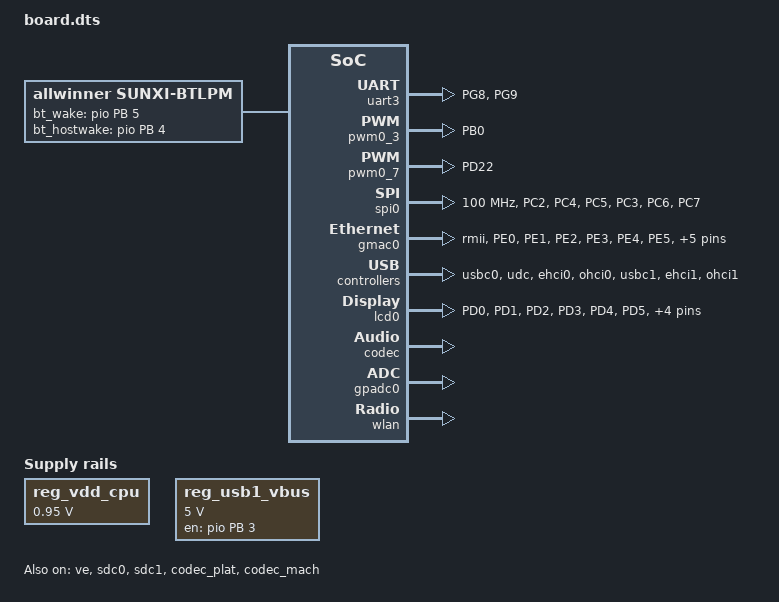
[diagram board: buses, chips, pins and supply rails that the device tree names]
/*
 * Allwinner Technology CO., Ltd.
 */

/dts-v1/;

#include "sun8iw20p1.dtsi"

/{
	reg_vdd_cpu: vdd-cpu {
		compatible = "regulator-fixed";
		regulator-name = "vdd_cpu";
		regulator-min-microvolt = <950000>;
		regulator-max-microvolt = <950000>;
		regulator-always-on;
		regulator-boot-on;
		status = "okay";
	};

	reg_usb1_vbus: usb1-vbus {
		compatible = "regulator-fixed";
		regulator-name = "usb1-vbus";
		regulator-min-microvolt = <5000000>;
		regulator-max-microvolt = <5000000>;
		regulator-enable-ramp-delay = <1000>;
		gpio = <&pio PB 3 GPIO_ACTIVE_HIGH>;
		enable-active-high;
	};
};

&cpu_opp_table {
	opp@480000000 {
		opp-hz = /bits/ 64 <480000000>;
		clock-latency-ns = <244144>;
		opp-microvolt-a0 = <950000>;
		opp-microvolt-a1 = <950000>;
		opp-microvolt-a2 = <950000>;

		opp-microvolt-b0 = <950000>;
		opp-supported-hw = <0x3>;
	};

	opp@720000000 {
		opp-hz = /bits/ 64 <720000000>;
		clock-latency-ns = <244144>;
		opp-microvolt-a0 = <950000>;
		opp-microvolt-a1 = <950000>;
		opp-microvolt-a2 = <950000>;

		opp-microvolt-b0 = <950000>;
		opp-supported-hw = <0x3>;
	};

	opp@912000000 {
		opp-hz = /bits/ 64 <912000000>;
		clock-latency-ns = <244144>;
		opp-microvolt-a0 = <950000>;
		opp-microvolt-a1 = <950000>;
		opp-microvolt-a2 = <950000>;

		opp-microvolt-b0 = <950000>;
		opp-supported-hw = <0x3>;
	};

	opp@1008000000 {
		opp-hz = /bits/ 64 <1008000000>;
		clock-latency-ns = <244144>;
		opp-microvolt-a0 = <1000000>;
		opp-microvolt-a1 = <950000>;
		opp-microvolt-a2 = <950000>;

		opp-microvolt-b0 = <950000>;
		opp-supported-hw = <0x3>;
	};

	/*opp@1104000000 use dtsi default*/

	opp@1200000000 {
		opp-supported-hw = <0x0>;
	};
};

&cpu0 {
	cpu-supply = <&reg_vdd_cpu>;
};

&pio {
	uart0_pins_a: uart0_pins@0 {  /* For EVB1 board */
		pins = "PG08", "PG09";
		function = "uart0";
	};

	uart0_pins_b: uart0_pins@1 {  /* For EVB1 board */
		pins = "PG08", "PG09";
		function = "gpio_in";
	};

	uart1_pins_a: uart1_pins@0 {  /* For EVB1 board */
		pins = "PG6", "PG7", "PG8", "PG9";
		function = "uart1";
		drive-strength = <10>;
		bias-pull-up;
	};

	uart1_pins_b: uart1_pins@1 {  /* For EVB1 board */
		pins = "PG6", "PG7", "PG8", "PG9";
		function = "gpio_in";
	};

	uart2_pins_a: uart2_pins@0 {  /* For EVB1 board */
		pins = "PE2", "PE3";
		function = "uart2";
		drive-strength = <10>;
		bias-pull-up;
	};

	uart2_pins_b: uart2_pins@1 {  /* For EVB1 board */
		pins = "PE2", "PE3";
		function = "gpio_in";
	};

	uart3_pins_a: uart3_pins@0 {  /* For t113_evb */
		pins = "PG8", "PG9";
		function = "uart3";
		drive-strength = <10>;
		bias-pull-up;
	};

	uart3_pins_b: uart3_pins@1 {  /* For t113_evb */
		pins = "PG8", "PG9";
		function = "gpio_in";
	};

	uart4_pins_a: uart4_pins@0 {  /* For t113_evb */
		pins = "PB2", "PB3";
		function = "uart4";
		drive-strength = <10>;
		bias-pull-up;
	};

	uart4_pins_b: uart4_pins@1 {  /* For t113_evb */
		pins = "PB2", "PB3";
		function = "gpio_in";
	};

	uart5_pins_a: uart5_pins@0 {  /* For t113_evb */
		pins = "PE6", "PE7";
		function = "uart5";
		drive-strength = <10>;
		bias-pull-up;
	};

	uart5_pins_b: uart5_pins@1 {  /* For t113_evb */
		pins = "PE6", "PE7";
		function = "gpio_in";
	};

	twi0_pins_default: twi0@0 {
		pins = "PB10", "PB11";
		function = "twi0";
		drive-strength = <10>;
		bias-pull-up;
	};

	twi0_pins_sleep: twi0@1 {
		pins = "PB10", "PB11";
		function = "gpio_in";
	};

	twi1_pins_default: twi1@0 {
		pins = "PE0", "PE1";
		function = "twi1";
		drive-strength = <10>;
		bias-pull-up;
	};

	twi1_pins_sleep: twi1@1 {
		pins = "PE0", "PE1";
		function = "gpio_in";
	};

	twi2_pins_default: twi2@0 {
		pins = "PE12", "PE13";
		function = "twi2";
		drive-strength = <10>;
		bias-pull-up;
	};

	twi2_pins_sleep: twi2@1 {
		pins = "PE12", "PE13";
		function = "gpio_in";
	};

	twi3_pins_default: twi3@0 {
		pins = "PG10", "PG11";
		function = "twi3";
		drive-strength = <10>;
		bias-pull-up;
	};

	twi3_pins_sleep: twi3@1 {
		pins = "PG10", "PG11";
		function = "gpio_in";
	};

	pwm3_pin_active: pwm3@0 {
		pins = "PB0";
		function = "pwm3";
		drive-strength = <10>;
		bias-pull-up;
	};

	pwm3_pin_sleep: pwm3@1 {
		pins = "PB0";
		function = "gpio_in";
		bias-pull-down;
	};

	pwm7_pin_active: pwm7@0 {
		pins = "PD22";
		function = "pwm7";
		drive-strength = <10>;
		bias-pull-up;
	};

	pwm7_pin_sleep: pwm7@1 {
		pins = "PD22";
		function = "gpio_in";
		bias-pull-down;
	};

	spi0_pins_a: spi0@0 {
		allwinner,pins = "PC2", "PC4", "PC5";
		function = "spi0";
		drive-strength = <20>;
	};

	spi0_pins_b: spi0@1 {
		pins = "PC3", "PC6", "PC7";
		function = "spi0";
		drive-strength = <20>;
		bias-pull-up;	/* only CS should be pulled up  */
	};

	spi0_pins_c: spi0@2 {
		pins = "PC2", "PC3", "PC4",
				"PC5", "PC6", "PC7";
		function = "gpio_in";
		drive-strength = <20>;
	};

	spi1_pins_a: spi1@0 {
		pins = "PB11", "PB10", "PB9","PB8", "PD15"; /*clk mosi miso hold wp*/
		function = "spi1";
		drive-strength = <10>;
	};

	spi1_pins_b: spi1@1 {
		pins = "PB12";
		function = "spi1";
		drive-strength = <10>;
		bias-pull-up;	/*only CS should be pulled up*/
	};

	spi1_pins_c: spi1@2 {
		pins = "PD15", "PB8", "PB9", "PB10","PB11", "PB12";
		function = "io_disabled";
		drive-strength = <10>;
	};

	gmac0_pins_default: gmac0@0 {
		allwinner,pins = "PE0", "PE1", "PE2", "PE3",
			"PE4", "PE5", "PE6", "PE7",
			"PE8", "PE9", "PE10";
		allwinner,function = "gmac0";
		allwinner,muxsel = <8>;
		allwinner,drive = <3>;
		allwinner,pull = <1>;
	};

	gmac0_pins_sleep: gmac0@1 {
		allwinner,pins = "PE0", "PE1", "PE2", "PE3",
			"PE4", "PE5", "PE6", "PE7",
			"PE8", "PE9", "PE10";
		allwinner,function = "gpio_in";
		allwinner,muxsel = <0>;
		allwinner,drive = <3>;
		allwinner,pull = <1>;
	};

	lvds0_pins_a: lvds0@0 {
		allwinner,pins  = "PD0", "PD1", "PD2", "PD3", "PD4", "PD5", "PD6", "PD7", "PD8", "PD9";
		allwinner,pname = "PD0", "PD1", "PD2", "PD3", "PD4", "PD5", "PD6", "PD7", "PD8", "PD9";
		allwinner,function = "lvds0";
		allwinner,muxsel = <3>;
		allwinner,drive = <3>;
		allwinner,pull = <0>;
	};

	lvds0_pins_b: lvds0@1 {
		allwinner,pins  = "PD0", "PD1", "PD2", "PD3", "PD4", "PD5", "PD6", "PD7", "PD8", "PD9";
		allwinner,pname = "PD0", "PD1", "PD2", "PD3", "PD4", "PD5", "PD6", "PD7", "PD8", "PD9";
		allwinner,function = "io_disabled";
		allwinner,muxsel = <7>;
		allwinner,drive = <3>;
		allwinner,pull = <0>;
	};

	rgb24_pins_a: rgb24@0 {
		allwinner,pins = "PB2", "PB3", "PD0", "PD1", "PD2", "PD3", "PD4", "PD5", \
			"PB4", "PB5", "PD6", "PD7", "PD8", "PD9", "PD10", "PD11", \
			"PB6", "PB7", "PD12", "PD13", "PD14", "PD15", "PD16", "PD17", \
			"PD18", "PD19", "PD20", "PD21";
		allwinner,pname = "lcdd0", "lcdd1", "lcdd2", "lcdd3", "lcdd4", "lcdd5", "lcdd6", "lcdd7", \
			"lcdd8", "lcdd9", "lcdd10", "lcdd11", "lcdd12", "lcdd13", "lcdd14", "lcdd15", \
			"lcdd16", "lcdd17", "lcdd18", "lcdd19", "lcdd20", "lcdd21", "lcdd22", "lcdd23", \
			"lcdclk", "lcdde", "lcdhsync", "lcdvsync";
		allwinner,function = "lcd0";
		allwinner,muxsel = <2>;
		allwinner,drive = <3>;
		allwinner,pull = <0>;
	};

	rgb24_pins_b: rgb24@1 {
		allwinner,pins = "PB2", "PB3", "PD0", "PD1", "PD2", "PD3", "PD4", "PD5", \
			"PB4", "PB5", "PD6", "PD7", "PD8", "PD9", "PD10", "PD11", \
			"PB6", "PB7", "PD12", "PD13", "PD14", "PD15", "PD16", "PD17", \
			"PD18", "PD19", "PD20", "PD21";
		allwinner,pname = "lcdd0", "lcdd1", "lcdd2", "lcdd3", "lcdd4", "lcdd5", "lcdd6", "lcdd7", \
			"lcdd8", "lcdd9", "lcdd10", "lcdd11", "lcdd12", "lcdd13", "lcdd14", "lcdd15", \
			"lcdd16", "lcdd17", "lcdd18", "lcdd19", "lcdd20", "lcdd21", "lcdd22", "lcdd23", \
			"lcdclk", "lcdde", "lcdhsync", "lcdvsync";
		allwinner,function = "io_disabled";
		allwinner,muxsel = <7>;
		allwinner,drive = <3>;
		allwinner,pull = <0>;
	};

	dsi4line_pins_a: dsi4lane@0 {
		allwinner,pins = "PD0", "PD1", "PD2", "PD3", "PD4", "PD5", "PD6", "PD7", "PD8", "PD9";
		allwinner,pname = "PD0", "PD1", "PD2", "PD3", "PD4", "PD5", "PD6", "PD7", "PD8", "PD9";
		allwinner,function = "dsi";
		allwinner,muxsel = <4>;
		allwinner,drive = <3>;
		allwinner,pull = <0>;
	};

	dsi4line_pins_b: dsi4lane@1 {
		allwinner,pins = "PD0", "PD1", "PD2", "PD3", "PD4", "PD5", "PD6", "PD7", "PD8", "PD9";
		allwinner,pname = "PD0", "PD1", "PD2", "PD3", "PD4", "PD5", "PD6", "PD7", "PD8", "PD9";
		allwinner,function = "io_disabled";
		allwinner,muxsel = <7>;
		allwinner,drive = <1>;
		allwinner,pull = <0>;
	};

	wlan_pins_a:wlan@0 {
		pins = "PG11";
		function = "clk_fanout1";
	};
};

&uart0 {
	pinctrl-names = "default", "sleep";
	pinctrl-0 = <&uart0_pins_a>;
	pinctrl-1 = <&uart0_pins_b>;
	status = "disabled";
};

&uart1 {
	pinctrl-names = "default", "sleep";
	pinctrl-0 = <&uart1_pins_a>;
	pinctrl-1 = <&uart1_pins_b>;
	status = "disabled";
};

&uart2 {
	pinctrl-names = "default", "sleep";
	pinctrl-0 = <&uart2_pins_a>;
	pinctrl-1 = <&uart2_pins_b>;
	status = "disabled";
};

&uart3 {
	pinctrl-names = "default", "sleep";
	pinctrl-0 = <&uart3_pins_a>;
	pinctrl-1 = <&uart3_pins_b>;
	status = "okay";
};

&uart4 {
	pinctrl-names = "default", "sleep";
	pinctrl-0 = <&uart4_pins_a>;
	pinctrl-1 = <&uart4_pins_b>;
	status = "disabled";
};

&uart5 {
	pinctrl-names = "default", "sleep";
	pinctrl-0 = <&uart5_pins_a>;
	pinctrl-1 = <&uart5_pins_b>;
	status = "disabled";
};

&twi0 {
	clock-frequency = <400000>;
	pinctrl-0 = <&twi0_pins_default>;
	pinctrl-1 = <&twi0_pins_sleep>;
	pinctrl-names = "default", "sleep";
	twi_drv_used = <1>;
	status = "disabled";
};

&twi1 {
	clock-frequency = <400000>;
	pinctrl-0 = <&twi1_pins_default>;
	pinctrl-1 = <&twi1_pins_sleep>;
	pinctrl-names = "default", "sleep";
	twi_drv_used = <1>;
	status = "disabled";
};

&twi2 {
	clock-frequency = <400000>;
	pinctrl-0 = <&twi2_pins_default>;
	pinctrl-1 = <&twi2_pins_sleep>;
	pinctrl-names = "default", "sleep";
	twi_drv_used = <1>;
	status = "disabled";
};

&twi3 {
	clock-frequency = <400000>;
	pinctrl-0 = <&twi3_pins_default>;
	pinctrl-1 = <&twi3_pins_sleep>;
	pinctrl-names = "default", "sleep";
	twi_drv_used = <1>;
	status = "disabled";
};

&pwm0_3 {
	pinctrl-names = "active", "sleep";
	pinctrl-0 = <&pwm3_pin_active>;
	pinctrl-1 = <&pwm3_pin_sleep>;
	status = "okay";
};

&pwm0_7 {
	pinctrl-names = "active", "sleep";
	pinctrl-0 = <&pwm7_pin_active>;
	pinctrl-1 = <&pwm7_pin_sleep>;
	status = "okay";
};

&rtp {
	allwinner,tp-sensitive-adjust = <0x2>;
	allwinner,filter-type = <0x3>;
	status = "disabled";
};

&spi0 {
	clock-frequency = <100000000>;
	pinctrl-0 = <&spi0_pins_a &spi0_pins_b>;
	pinctrl-1 = <&spi0_pins_c>;
	pinctrl-names = "default", "sleep";
	sunxi,spi-bus-mode = <SUNXI_SPI_BUS_NOR>;
	sunxi,spi-cs-mode = <SUNXI_SPI_CS_SOFT>;
	status = "okay";
	/* if use spi-nand, pls open spi status and spi-nand status
	   if use spi-nor, pls open spi status and cloce spi-nand status */
	spi_board0 {
                device_type = "spi_board0";
                compatible = "spi-nor";
                spi-max-frequency = <0x5F5E100>;
                m25p,fast-read = <1>;
                /*individual_lock;*/
                reg = <0x0>;
                spi-rx-bus-width=<0x04>;
                spi-tx-bus-width=<0x04>;
                status="disabled";
        };

	spi-nand@0 {
		compatible = "spi-nand";
		spi-max-frequency = <0x5F5E100>;
		reg = <0x0>;
		spi-rx-bus-width = <0x04>;
		spi-tx-bus-width = <0x04>;
		status = "disabled";
	};
};

&gmac0 {
	phy-mode = "rmii";
	pinctrl-names = "default", "sleep";
	pinctrl-0 = <&gmac0_pins_default>;
	pinctrl-1 = <&gmac0_pins_sleep>;
	sunxi,phy-clk-type = <0>;
	tx-delay = <7>;
	rx-delay = <31>;
	status = "okay";
};

&ve {
	status = "okay";
};

&sdc2 {
	non-removable;
	bus-width = <4>;
	mmc-ddr-1_8v;
	mmc-hs200-1_8v;
	no-sdio;
	no-sd;
	ctl-spec-caps = <0x328>;
	cap-mmc-highspeed;
	sunxi-power-save-mode;
	sunxi-dis-signal-vol-sw;
	mmc-bootpart-noacc;
	max-frequency = <150000000>;
	/*vmmc-supply = <&reg_dcdc1>;*/
	/*emmc io vol 3.3v*/
	/*vqmmc-supply = <&reg_aldo1>;*/
	/*emmc io vol 1.8v*/
	/*vqmmc-supply = <&reg_eldo1>;*/
	status = "disabled";
};

&sdc0 {
	bus-width = <4>;
	cd-gpios = <&pio PF 6 (GPIO_ACTIVE_LOW | GPIO_PULL_UP)>;
	/*non-removable;*/
	/*broken-cd;*/
	/*cd-inverted;*/
	/*data3-detect;*/
	/*card-pwr-gpios = <&pio PH 14 1 1 2 0xffffffff>;*/
	cd-used-24M;
	cap-sd-highspeed;
	/*sd-uhs-sdr50;*/
	/*sd-uhs-ddr50;*/
	/*sd-uhs-sdr104;*/
	no-sdio;
	no-mmc;
	sunxi-power-save-mode;
	sunxi-dis-signal-vol-sw;
	max-frequency = <50000000>;
	ctl-spec-caps = <0x428>;
	/*vmmc-supply = <&reg_dcdc1>;*/
	/*vqmmc33sw-supply = <&reg_dcdc1>;*/
	/*vdmmc33sw-supply = <&reg_dcdc1>;*/
	/*vqmmc18sw-supply = <&reg_eldo1>;*/
	/*vdmmc18sw-supply = <&reg_eldo1>;*/
	status = "okay";
};

&sdc1 {
	bus-width = <4>;
	no-mmc;
	no-sd;
	cap-sd-highspeed;
	/*sd-uhs-sdr12*/
	/*sd-uhs-sdr25;*/
	/*sd-uhs-sdr50;*/
	/*sd-uhs-ddr50;*/
	/*sd-uhs-sdr104;*/
	/*sunxi-power-save-mode;*/
	sunxi-dis-signal-vol-sw;
	cap-sdio-irq;
	keep-power-in-suspend;
	ignore-pm-notify;
	max-frequency = <50000000>;
	ctl-spec-caps = <0x428>;
	status = "okay";
};

/*
 *usb_port_type: usb mode. 0-device, 1-host, 2-otg.
 *usb_detect_type: usb hotplug detect mode. 0-none, 1-vbus/id detect, 2-id/dpdm detect.
 *usb_detect_mode: 0-thread scan, 1-id gpio interrupt.
 *usb_id_gpio: gpio for id detect.
 *usb_det_vbus_gpio: gpio for id detect. gpio or "axp_ctrl";
 *usb_wakeup_suspend：0-SUPER_STANDBY, 1-USB_STANDBY.
 */
&usbc0 {
	device_type = "usbc0";
	usb_port_type = <0>;
	usb_detect_type = <1>;
	usb_detect_mode = <0>;
	usb_id_gpio = <&pio PE 12 GPIO_ACTIVE_HIGH>;
	enable-active-high;
	usb_det_vbus_gpio = <&pio PE 12 GPIO_ACTIVE_HIGH>;
	usb_wakeup_suspend = <0>;
	usb_serial_unique = <0>;
	usb_serial_number = "20080411";
	rndis_wceis = <1>;
	status = "okay";
};

&udc {
	status = "okay";
};

&ehci0 {
	drvvbus-supply = <&reg_usb1_vbus>;
	status = "okay";
};

&ohci0 {
	drvvbus-supply = <&reg_usb1_vbus>;
	status = "okay";
};

&usbc1 {
	device_type = "usbc1";
	usb_regulator_io = "nocare";
	usb_wakeup_suspend = <0>;
	status = "okay";
};

&ehci1 {
	drvvbus-supply = <&reg_usb1_vbus>;
	status = "okay";
};

&ohci1 {
	drvvbus-supply = <&reg_usb1_vbus>;
	status = "okay";
};

&spi1 {
	clock-frequency = <100000000>;
	pinctrl-0 = <&spi1_pins_a &spi1_pins_b>;
	pinctrl-1 = <&spi1_pins_c>;
	pinctrl-names = "default", "sleep";
	sunxi,spi-bus-mode = <SUNXI_SPI_BUS_MASTER>;
	sunxi,spi-cs-mode = <SUNXI_SPI_CS_AUTO>;
	status = "disabled";
	spidev1@0 {
		compatible = "rohm,dh2228fv";
		spi-max-frequency = <10000000>;
		reg = <0x0>;
		spi-rx-bus-width = <0x1>;
		spi-tx-bus-width = <0x1>;
		status = "disabled";
	};
};

&disp {
	disp_init_enable         = <1>;
	disp_mode                = <0>;

	screen0_output_type      = <1>;
	screen0_output_mode      = <4>;

	screen1_output_type      = <1>;
	screen1_output_mode      = <4>;

	screen1_output_format    = <0>;
	screen1_output_bits      = <0>;
	screen1_output_eotf      = <4>;
	screen1_output_cs        = <257>;
	screen1_output_range     = <2>;
	screen1_output_scan      = <0>;
	screen1_output_aspect_ratio = <8>;

	dev0_output_type         = <1>;
	dev0_output_mode         = <4>;
	dev0_screen_id           = <0>;
	dev0_do_hpd              = <0>;

	dev1_output_type         = <4>;
	dev1_output_mode         = <10>;
	dev1_screen_id           = <1>;
	dev1_do_hpd              = <1>;

	def_output_dev           = <0>;

	fb_format                = <0>;
	fb_num                   = <1>;

	fb0_map                  = <0 1 0 16>;
	fb0_width                = <1024>;
	fb0_height               = <600>;

	fb1_map			 = <0 2 0 16>;
	fb1_width                = <300>;
	fb1_height               = <300>;

	chn_cfg_mode             = <1>;

	disp_para_zone           = <1>;
	/* VCC-LCD */
	/* dc1sw-supply = <&reg_dc1sw>; */
	/* VCC-DSI */
	/* eldo3-supply = <&reg_eldo3>; */
	/* VCC-PD */
	/* dcdc1-supply = <&reg_dcdc1>; */
};

&lcd0 {
	lcd_used            = <1>;

	lcd_driver_name     = "default_lcd";
	lcd_backlight       = <150>;
	lcd_if              = <3>;

	lcd_x               = <1024>;
	lcd_y               = <600>;
	lcd_width           = <150>;
	lcd_height          = <94>;
	lcd_dclk_freq       = <52>;

	lcd_pwm_used        = <1>;
	lcd_pwm_ch          = <7>;
	lcd_pwm_freq        = <50000>;
	lcd_pwm_pol         = <0>;
	lcd_pwm_max_limit   = <255>;

	lcd_hbp             = <160>;
	lcd_ht              = <1344>;
	lcd_hspw            = <60>;
	lcd_vbp             = <23>;
	lcd_vt              = <638>;
	lcd_vspw            = <10>;

	lcd_lvds_if         = <0>;
	lcd_lvds_colordepth = <0>;
	lcd_lvds_mode       = <0>;
	lcd_frm             = <1>;
	lcd_hv_clk_phase    = <0>;
	lcd_hv_sync_polarity= <0>;
	lcd_gamma_en        = <0>;
	lcd_bright_curve_en = <0>;
	lcd_cmap_en         = <0>;

	deu_mode            = <0>;
	lcdgamma4iep        = <22>;
	smart_color         = <90>;

	/*lcd_bl_en = <&pio PD 22 GPIO_ACTIVE_HIGH>;*/
	pinctrl-0 = <&lvds0_pins_a>;
	pinctrl-1 = <&lvds0_pins_b>;
};

/* audio dirver module start -> audio codec */
&codec {
	tx-hub-en;
	rx-sync-en;

	dac-vol		= <63>;		/* default value:63 range:0->63 */
	dacl-vol	= <160>;	/* default value:160 range:0->255 */
	dacr-vol	= <160>;	/* default value:160 range:0->255 */
	adc1-vol	= <160>;	/* default value:160 range:0->255 */
	adc2-vol	= <160>;	/* default value:160 range:0->255 */
	lineout-gain	= <31>;		/* default value:31 range:0->31 */
	hpout-gain	= <7>;		/* default value:7 range:0->7 */
	adc1-gain	= <31>;		/* default value:31 range:0->31 */
	adc2-gain	= <31>;		/* default value:31 range:0->31 */

	pa-pin-max	= <1>;
	pa-pin-0	= <&pio PE 11 GPIO_ACTIVE_HIGH>;
	pa-pin-level-0	= <1>;
	pa-pin-msleep-0	= <10>;

	status = "okay";
};

&codec_plat {
	status = "okay";
};

&codec_mach {
	status = "okay";
	soundcard-mach,cpu {
		sound-dai = <&codec_plat>;
	};
	soundcard-mach,codec {
		sound-dai = <&codec>;
	};
};

/* audio dirver module -> owa */
&owa_plat {
	/* pinctrl-used; */
	/* pinctrl-names	= "default","sleep"; */
	/* pinctrl-0	= <&owa_pins_a>; */
	/* pinctrl-1	= <&owa_pins_b>; */
	tx-hub-en;
	status		= "disabled";
};

&owa_mach {
	status		= "disabled";
	soundcard-mach,cpu {
		sound-dai = <&owa_plat>;
	};
	soundcard-mach,codec {
	};
};

/* audio dirver module -> DMIC */
&dmic_plat {
	rx-chmap	= <0x76543210>;
	data-vol	= <0xB0>;
	rxdelaytime	= <0>;
	/* pinctrl-used; */
	/* pinctrl-names	= "default","sleep"; */
	/* pinctrl-0	= <&dmic_pins_a>; */
	/* pinctrl-1	= <&dmic_pins_b>; */
	rx-sync-en;
	status		= "disabled";
};

&dmic_mach {
	status		= "disabled";
	soundcard-mach,cpu {
		sound-dai = <&dmic_plat>;
	};
	soundcard-mach,codec {
	};
};

/* audio dirver module -> I2S/PCM */
&i2s0_plat {
	tdm-num		= <0>;
	tx-pin		= <0>;
	rx-pin		= <0>;
	/* pinctrl-used;
	 * pinctrl-names	= "default","sleep";
	 * pinctrl-0	= <&i2s0_pins_a &i2s0_pins_c &i2s0_pins_d>;
	 * pinctrl-1	= <&i2s0_pins_b>;
	 */
	tx-hub-en;
	rx-sync-en;
	status		= "disabled";
};

&i2s0_mach {
	soundcard-mach,format		= "i2s";
	soundcard-mach,frame-master	= <&i2s0_cpu>;
	soundcard-mach,bitclock-master	= <&i2s0_cpu>;
	/* soundcard-mach,frame-inversion; */
	/* soundcard-mach,bitclock-inversion; */
	soundcard-mach,slot-num		= <2>;
	soundcard-mach,slot-width	= <32>;
	soundcard-mach,capture-only;
	status		= "disabled";
	i2s0_cpu: soundcard-mach,cpu {
		sound-dai = <&i2s0_plat>;
		/* note: pll freq = 24.576M or 22.5792M * pll-fs */
		soundcard-mach,pll-fs	= <1>;
		/* note:
		 * mclk freq = mclk-fs * 12.288M or 11.2896M	(when mclk-fp ture)
		 * mclk freq = mclk-fs * pcm rate		(when mclk-fp false)
		 */
		soundcard-mach,mclk-fp;
		soundcard-mach,mclk-fs	= <1>;
	};
	i2s0_codec: soundcard-mach,codec {
		soundcard-mach,pll-fs   = <1>;
	};
};

&i2s1_plat {
	tdm-num		= <1>;
	tx-pin		= <0>;
	rx-pin		= <0>;
	/* pinctrl-used;
	 * pinctrl-names= "default","sleep";
	 * pinctrl-0	= <&i2s1_pins_a &i2s1_pins_b &i2s1_pins_c>;
	 * pinctrl-1	= <&i2s1_pins_d>;
	 */
	tx-hub-en;
	rx-sync-en;
	status		= "disabled";
};

&i2s1_mach {
	soundcard-mach,format		= "i2s";
	soundcard-mach,frame-master	= <&i2s1_cpu>;
	soundcard-mach,bitclock-master	= <&i2s1_cpu>;
	/* soundcard-mach,frame-inversion; */
	/* soundcard-mach,bitclock-inversion; */
	soundcard-mach,slot-num		= <2>;
	soundcard-mach,slot-width	= <32>;
	status		= "disabled";
	i2s1_cpu: soundcard-mach,cpu {
		sound-dai = <&i2s1_plat>;
		soundcard-mach,pll-fs	= <1>;
		soundcard-mach,mclk-fs	= <0>;
	};
	i2s1_codec: soundcard-mach,codec {
	};
};

&i2s2_plat {
	tdm-num		= <2>;
	tx-pin		= <0>;
	rx-pin		= <0>;
	/* pinctrl-used;
	 * pinctrl-names= "default","sleep";
	 * pinctrl-0	= <&i2s2_pins_a &i2s2_pins_b>;
	 * pinctrl-1	= <&i2s2_pins_c>;
	 */
	tx-hub-en;
	rx-sync-en;
	/* dai-type = "hdmi"; */
	status		= "disabled";
};

&i2s2_mach {
	soundcard-mach,format		= "i2s";
	soundcard-mach,frame-master	= <&i2s2_codec>;
	soundcard-mach,bitclock-master	= <&i2s2_codec>;
	/* soundcard-mach,frame-inversion; */
	/* soundcard-mach,bitclock-inversion; */
	soundcard-mach,slot-num		= <2>;
	soundcard-mach,slot-width	= <32>;
	status		= "disabled";
	i2s2_cpu: soundcard-mach,cpu {
		sound-dai = <&i2s2_plat>;
		soundcard-mach,pll-fs	= <1>;
		soundcard-mach,mclk-fs	= <0>;
	};
	i2s2_codec: soundcard-mach,codec {
	};
};
/* audio dirver module end -> audio codec */
/*
&lcd0 {
	lcd_used            = <1>;
	lcd_driver_name     = "he0801a068";
	lcd_backlight       = <50>;
	lcd_if              = <4>;

	lcd_x               = <800>;
	lcd_y               = <1280>;
	lcd_width           = <52>;
	lcd_height          = <52>;
	lcd_dclk_freq       = <78>;

	lcd_pwm_used        = <1>;
	lcd_pwm_ch          = <3>;
	lcd_pwm_freq        = <50000>;
	lcd_pwm_pol         = <0>;
	lcd_pwm_max_limit   = <255>;

	lcd_hbp             = <149>;
	lcd_ht              = <978>;
	lcd_hspw            = <16>;
	lcd_vbp             = <7>;
	lcd_vt              = <1329>;
	lcd_vspw            = <5>;

	lcd_dsi_lane        = <4>;
	lcd_lvds_if         = <0>;
	lcd_lvds_colordepth = <1>;
	lcd_lvds_mode       = <0>;
	lcd_frm             = <0>;
	lcd_io_phase        = <0x0000>;
	lcd_gamma_en        = <0>;
	lcd_bright_curve_en = <0>;
	lcd_cmap_en         = <0>;
	lcd_fsync_act_time  = <1000>;
	lcd_fsync_dis_time  = <1000>;

	deu_mode            = <0>;
	lcdgamma4iep        = <22>;
	smart_color         = <90>;

	pinctrl-0 = <&dsi4line_pins_a>;
	pinctrl-1 = <&dsi4line_pins_b>;
	lcd_gpio_0 = <&pio PG 13 GPIO_ACTIVE_HIGH>;
}; */
/*
&lcd0 {
	lcd_used            = <1>;

	lcd_driver_name     = "default_lcd";
	lcd_backlight       = <50>;
	lcd_if              = <0>;

	lcd_x               = <800>;
	lcd_y               = <480>;
	lcd_width           = <150>;
	lcd_height          = <94>;
	lcd_dclk_freq       = <48>;

	lcd_pwm_used        = <1>;
	lcd_pwm_ch          = <3>;
	lcd_pwm_freq        = <50000>;
	lcd_pwm_pol         = <1>;

	lcd_hbp             = <55>;
	lcd_ht              = <1240>;
	lcd_hspw            = <20>;
	lcd_vbp             = <35>;
	lcd_vt              = <650>;
	lcd_vspw            = <10>;

	lcd_lvds_if         = <0>;
	lcd_lvds_colordepth = <1>;
	lcd_lvds_mode       = <0>;
	lcd_frm             = <0>;
	lcd_io_phase        = <0x0000>;
	lcd_gamma_en        = <0>;
	lcd_bright_curve_en = <0>;
	lcd_cmap_en         = <0>;

	deu_mode            = <0>;
	lcdgamma4iep        = <22>;
	smart_color         = <90>;

	lcd_bl_en = <&pio PB 1 GPIO_ACTIVE_HIGH>;
	pinctrl-0 = <&rgb18_pins_a>;
	pinctrl-1 = <&rgb18_pins_b>;
}; */
/*
&lcd0 {
	lcd_used            = <1>;

	lcd_driver_name     = "default_lcd";
	lcd_backlight       = <50>;
	lcd_if              = <0>;

	lcd_x               = <1024>;
	lcd_y               = <600>;
	lcd_width           = <150>;
	lcd_height          = <94>;
	lcd_dclk_freq       = <48>;

	lcd_pwm_used        = <1>;
	lcd_pwm_ch          = <3>;
	lcd_pwm_freq        = <50000>;
	lcd_pwm_pol         = <0>;

	lcd_hbp             = <55>;
	lcd_ht              = <1240>;
	lcd_hspw            = <20>;
	lcd_vbp             = <35>;
	lcd_vt              = <650>;
	lcd_vspw            = <10>;

	lcd_lvds_if         = <0>;
	lcd_lvds_colordepth = <1>;
	lcd_lvds_mode       = <0>;
	lcd_frm             = <1>;
	lcd_io_phase        = <0x0000>;
	lcd_gamma_en        = <0>;
	lcd_bright_curve_en = <0>;
	lcd_cmap_en         = <0>;

	deu_mode            = <0>;
	lcdgamma4iep        = <22>;
	smart_color         = <90>;

	pinctrl-0 = <&rgb24_pins_a>;
	pinctrl-1 = <&rgb24_pins_b>;
}; */

&gpadc0 {
	channel_num = <2>;
	channel_select = <0x3>;
	channel_data_select = <0>;
	channel_compare_select = <0x1>;
	channel_cld_select = <0x1>;
	channel_chd_select = <0>;
	channel0_compare_lowdata = <1700000>;
	channel0_compare_higdata = <1200000>;
	channel1_compare_lowdata = <460000>;
	channel1_compare_higdata = <1200000>;
	wakeup-source;
	status = "okay";
	keyadc0 {
		key_cnt = <5>;
		key0_vol = <210>;
		key0_val = <115>;
		key1_vol = <410>;
		key1_val = <114>;
		key2_vol = <590>;
		key2_val = <119>;
		key3_vol = <750>;
		key3_val = <373>;
		key4_vol = <880>;
		key4_val = <28>;
	};
};

&soc {

	rfkill: rfkill@0 {
		compatible    = "allwinner,sunxi-rfkill";
		chip_en;
		power_en;
		pinctrl-0 = <&wlan_pins_a>;
		pinctrl-names = "default";
		status        = "okay";

		wlan: wlan@0 {
			compatible    = "allwinner,sunxi-wlan";
			clock = "32k-fanout1";
			clock-names = <&ccu CLK_FANOUT1_OUT>;
			wlan_power;
			wlan_power_vol;
			wlan_busnum   = <0x1>;
			wlan_regon    = <&pio PB 7 GPIO_ACTIVE_HIGH>;
			wlan_hostwake = <&pio PG 10 GPIO_ACTIVE_HIGH>;
			wakeup-source;
		};

		bt: bt@0 {
			compatible    = "allwinner,sunxi-bt";
			pinctrl-0 = <&wlan_pins_a>;
			pinctrl-names = "default";
			clock-names = "32k-fanout1";
			clocks = <&ccu CLK_FANOUT1_OUT>;
			/*bt_power_num = <0x01>;*/
			/*bt_power      = "axp803-dldo1";*/
			/*bt_io_regulator = "axp803-dldo1";*/
			/*bt_io_vol = <3300000>;*/
			/*bt_power_vol = <330000>;*/
			bt_rst_n      = <&pio PB 6 GPIO_ACTIVE_LOW>;
			status        = "okay";
		};
	};

	btlpm: btlpm@0 {
		compatible  = "allwinner,sunxi-btlpm";
		uart_index  = <0x1>;
		bt_wake     = <&pio PB 5 GPIO_ACTIVE_HIGH>;
		bt_hostwake = <&pio PB 4 GPIO_ACTIVE_HIGH>;
		status      = "okay";
	};

	addr_mgt: addr_mgt@0 {
		compatible     = "allwinner,sunxi-addr_mgt";
		type_addr_wifi = <0x0>;
		type_addr_bt   = <0x0>;
		type_addr_eth  = <0x0>;
		status         = "okay";
	};
};
